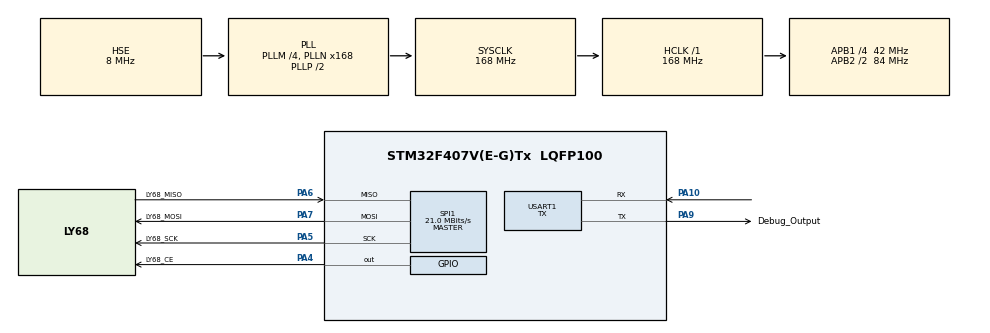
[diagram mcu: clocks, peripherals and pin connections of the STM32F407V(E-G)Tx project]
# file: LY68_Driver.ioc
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Mcu.Family=STM32F4
Mcu.Name=STM32F407V(E-G)Tx
Mcu.Package=LQFP100
NVIC.PriorityGroup=NVIC_PRIORITYGROUP_4
PA10.Mode=Asynchronous
PA10.Signal=USART1_RX
PA13.Mode=Serial_Wire
PA13.Signal=SYS_JTMS-SWDIO
PA14.Mode=Serial_Wire
PA14.Signal=SYS_JTCK-SWCLK
PA4.GPIO_Label=LY68_CE
PA4.PinState=GPIO_PIN_SET
PA4.Signal=GPIO_Output
PA5.GPIO_Label=LY68_SCK
PA5.Mode=Full_Duplex_Master
PA5.Signal=SPI1_SCK
PA6.GPIO_Label=LY68_MISO
PA6.Mode=Full_Duplex_Master
PA6.Signal=SPI1_MISO
PA7.GPIO_Label=LY68_MOSI
PA7.Mode=Full_Duplex_Master
PA7.Signal=SPI1_MOSI
PA9.GPIO_Label=Debug_Output
PA9.Mode=Asynchronous
PA9.Signal=USART1_TX
PH0-OSC_IN.Mode=HSE-External-Oscillator
PH0-OSC_IN.Signal=RCC_OSC_IN
PH1-OSC_OUT.Mode=HSE-External-Oscillator
PH1-OSC_OUT.Signal=RCC_OSC_OUT
ProjectManager.HeapSize=0x200
ProjectManager.StackSize=0x400
ProjectManager.TargetToolchain=Makefile
RCC.48MHZClocksFreq_Value=84000000
RCC.AHBFreq_Value=168000000
RCC.APB1CLKDivider=RCC_HCLK_DIV4
RCC.APB1Freq_Value=42000000
RCC.APB1TimFreq_Value=84000000
RCC.APB2CLKDivider=RCC_HCLK_DIV2
RCC.APB2Freq_Value=84000000
RCC.APB2TimFreq_Value=168000000
RCC.CortexFreq_Value=168000000
RCC.HCLKFreq_Value=168000000
RCC.HSE_VALUE=8000000
RCC.HSI_VALUE=16000000
RCC.LSE_VALUE=32768
RCC.PLLM=4
RCC.PLLN=168
RCC.PLLSourceVirtual=RCC_PLLSOURCE_HSE
RCC.SYSCLKFreq_VALUE=168000000
RCC.SYSCLKSource=RCC_SYSCLKSOURCE_PLLCLK
RCC.VCOOutputFreq_Value=336000000
SPI1.BaudRatePrescaler=SPI_BAUDRATEPRESCALER_4
SPI1.CalculateBaudRate=21.0 MBits/s
SPI1.Direction=SPI_DIRECTION_2LINES
SPI1.Mode=SPI_MODE_MASTER
SPI1.VirtualType=VM_MASTER
USART1.Mode=MODE_TX
USART1.VirtualMode=VM_ASYNC
board=custom

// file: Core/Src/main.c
/* USER CODE BEGIN Header */
/**
  ******************************************************************************
  * @file           : main.c
  * @brief          : Main program body
  ******************************************************************************
  * @attention
  *
  * Copyright (c) 2024 STMicroelectronics.
  * All rights reserved.
  *
  * This software is licensed under terms that can be found in the LICENSE file
  * in the root directory of this software component.
  * If no LICENSE file comes with this software, it is provided AS-IS.
  *
  ******************************************************************************
  */
/* USER CODE END Header */
#include "main.h"

/* USER CODE BEGIN Includes */
#include "ly68_driver.h"
#include "string.h"
/* USER CODE END Includes */

SPI_HandleTypeDef hspi1;

UART_HandleTypeDef huart1;

void SystemClock_Config(void);
static void MX_GPIO_Init(void);
static void MX_SPI1_Init(void);
static void MX_USART1_UART_Init(void);
/* USER CODE BEGIN PFP */
ly68_driver_status ly68_transmit(
  const uint8_t *const data,
  const uint16_t data_size,
  const uint32_t timeout
);
ly68_driver_status ly68_receive(
  uint8_t *const data,
  const uint16_t data_size,
  const uint32_t timeout
);
void ly68_set_chip_select(bool is_high);
/* USER CODE END PFP */

int main(void)
{

  /* MCU Configuration--------------------------------------------------------*/

  /* Reset of all peripherals, Initializes the Flash interface and the Systick. */
  HAL_Init();

  /* Configure the system clock */
  SystemClock_Config();

  /* Initialize all configured peripherals */
  MX_GPIO_Init();
  MX_SPI1_Init();
  MX_USART1_UART_Init();
  /* USER CODE BEGIN 2 */

  ly68_id id = { 0 };
  ly68_driver_status status = ly68_driver_reset();

  ly68_driver_init(
    (ly68_driver_handler) {
      .transmit = ly68_transmit,
      .receive = ly68_receive,
      .set_chip_select = ly68_set_chip_select
    }
  );

  status |= ly68_driver_read_id(&id);

  if (id.mf_id != LY68_MF_ID)
    Error_Handler();

  /* USER CODE END 2 */

  /* Infinite loop */
  while (1)
  {

  }
}

void SystemClock_Config(void)
{
  RCC_OscInitTypeDef RCC_OscInitStruct = {0};
  RCC_ClkInitTypeDef RCC_ClkInitStruct = {0};

  /** Configure the main internal regulator output voltage
  */
  __HAL_RCC_PWR_CLK_ENABLE();
  __HAL_PWR_VOLTAGESCALING_CONFIG(PWR_REGULATOR_VOLTAGE_SCALE1);

  /** Initializes the RCC Oscillators according to the specified parameters
  * in the RCC_OscInitTypeDef structure.
  */
  RCC_OscInitStruct.OscillatorType = RCC_OSCILLATORTYPE_HSE;
  RCC_OscInitStruct.HSEState = RCC_HSE_ON;
  RCC_OscInitStruct.PLL.PLLState = RCC_PLL_ON;
  RCC_OscInitStruct.PLL.PLLSource = RCC_PLLSOURCE_HSE;
  RCC_OscInitStruct.PLL.PLLM = 4;
  RCC_OscInitStruct.PLL.PLLN = 168;
  RCC_OscInitStruct.PLL.PLLP = RCC_PLLP_DIV2;
  RCC_OscInitStruct.PLL.PLLQ = 4;
  if (HAL_RCC_OscConfig(&RCC_OscInitStruct) != HAL_OK)
  {
    Error_Handler();
  }

  /** Initializes the CPU, AHB and APB buses clocks
  */
  RCC_ClkInitStruct.ClockType = RCC_CLOCKTYPE_HCLK|RCC_CLOCKTYPE_SYSCLK
                              |RCC_CLOCKTYPE_PCLK1|RCC_CLOCKTYPE_PCLK2;
  RCC_ClkInitStruct.SYSCLKSource = RCC_SYSCLKSOURCE_PLLCLK;
  RCC_ClkInitStruct.AHBCLKDivider = RCC_SYSCLK_DIV1;
  RCC_ClkInitStruct.APB1CLKDivider = RCC_HCLK_DIV4;
  RCC_ClkInitStruct.APB2CLKDivider = RCC_HCLK_DIV2;

  if (HAL_RCC_ClockConfig(&RCC_ClkInitStruct, FLASH_LATENCY_5) != HAL_OK)
  {
    Error_Handler();
  }
}

static void MX_SPI1_Init(void)
{

  /* SPI1 parameter configuration*/
  hspi1.Instance = SPI1;
  hspi1.Init.Mode = SPI_MODE_MASTER;
  hspi1.Init.Direction = SPI_DIRECTION_2LINES;
  hspi1.Init.DataSize = SPI_DATASIZE_8BIT;
  hspi1.Init.CLKPolarity = SPI_POLARITY_LOW;
  hspi1.Init.CLKPhase = SPI_PHASE_1EDGE;
  hspi1.Init.NSS = SPI_NSS_SOFT;
  hspi1.Init.BaudRatePrescaler = SPI_BAUDRATEPRESCALER_4;
  hspi1.Init.FirstBit = SPI_FIRSTBIT_MSB;
  hspi1.Init.TIMode = SPI_TIMODE_DISABLE;
  hspi1.Init.CRCCalculation = SPI_CRCCALCULATION_DISABLE;
  hspi1.Init.CRCPolynomial = 10;
  if (HAL_SPI_Init(&hspi1) != HAL_OK)
  {
    Error_Handler();
  }

}

static void MX_USART1_UART_Init(void)
{

  huart1.Instance = USART1;
  huart1.Init.BaudRate = 115200;
  huart1.Init.WordLength = UART_WORDLENGTH_8B;
  huart1.Init.StopBits = UART_STOPBITS_1;
  huart1.Init.Parity = UART_PARITY_NONE;
  huart1.Init.Mode = UART_MODE_TX;
  huart1.Init.HwFlowCtl = UART_HWCONTROL_NONE;
  huart1.Init.OverSampling = UART_OVERSAMPLING_16;
  if (HAL_UART_Init(&huart1) != HAL_OK)
  {
    Error_Handler();
  }

}

static void MX_GPIO_Init(void)
{
  GPIO_InitTypeDef GPIO_InitStruct = {0};

  /* GPIO Ports Clock Enable */
  __HAL_RCC_GPIOH_CLK_ENABLE();
  __HAL_RCC_GPIOA_CLK_ENABLE();

  /*Configure GPIO pin Output Level */
  HAL_GPIO_WritePin(LY68_CE_GPIO_Port, LY68_CE_Pin, GPIO_PIN_SET);

  /*Configure GPIO pin : LY68_CE_Pin */
  GPIO_InitStruct.Pin = LY68_CE_Pin;
  GPIO_InitStruct.Mode = GPIO_MODE_OUTPUT_PP;
  GPIO_InitStruct.Pull = GPIO_NOPULL;
  GPIO_InitStruct.Speed = GPIO_SPEED_FREQ_LOW;
  HAL_GPIO_Init(LY68_CE_GPIO_Port, &GPIO_InitStruct);

}

/* USER CODE BEGIN 4 */

ly68_driver_status ly68_transmit(
  const uint8_t *const data,
  const uint16_t data_size,
  const uint32_t timeout
)
{
  return (ly68_driver_status)HAL_SPI_Transmit(
    &hspi1,
    (uint8_t*)data,
    data_size,
    timeout
  );
}

ly68_driver_status ly68_receive(
  uint8_t *const data,
  const uint16_t data_size,
  const uint32_t timeout
)
{
  return (ly68_driver_status)HAL_SPI_Receive(
    &hspi1,
    (uint8_t*)data,
    data_size,
    timeout
  );
}

void ly68_set_chip_select(bool is_high)
{
  HAL_GPIO_WritePin(
    LY68_CE_GPIO_Port,
    LY68_CE_Pin,
    is_high ? GPIO_PIN_SET : GPIO_PIN_RESET
  );
}

/* USER CODE END 4 */

void Error_Handler(void)
{
  __disable_irq();
  while (1)
  {
  }
}
